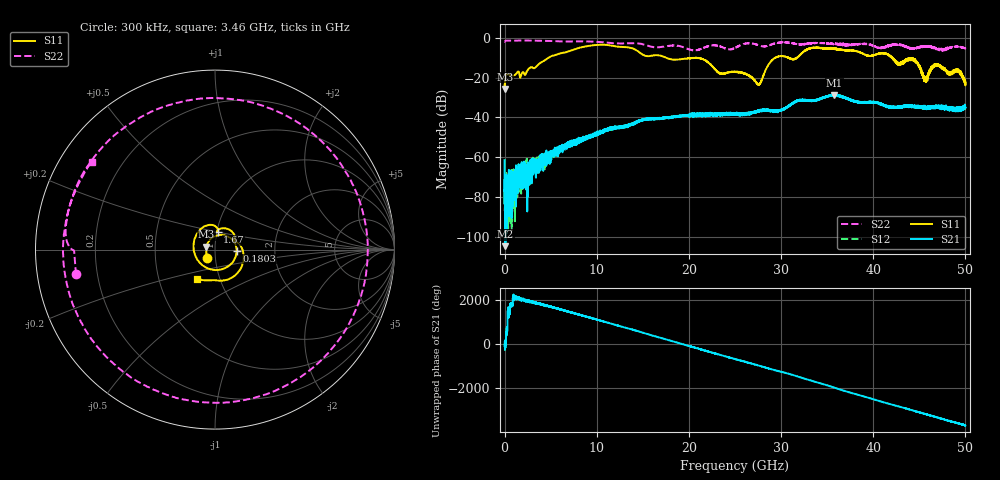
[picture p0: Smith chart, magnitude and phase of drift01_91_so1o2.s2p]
!Created with skrf (http://scikit-rf.org).
# Hz S RI R 50.0
!freq ReS11 ImS11 ReS21 ImS21 ReS12 ImS12 ReS22 ImS22
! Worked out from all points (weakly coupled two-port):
!   10001 points, 300 kHz to 50 GHz, reference 50 ohm
!   highest |S21| = -28.72 dB at 35.8 GHz (marker M1); lowest = -104.8 dB at 85.3 MHz (marker M2)
!   lowest |S11| = -25.8 dB at 5.3 MHz (marker M3), VSWR 1.11, Z = 45.3 + j1.4 ohm
!   |S11| at or under -10 dB: start of sweep to 4.77 GHz; 17.52 GHz to 29.39 GHz (11.88 GHz wide, 50.6 % of centre); 42.08 GHz to end of sweep (the widest 3 of 13)
!   |S22| runs from -6.6 to -1.4 dB; largest |S21 - S12| = 0.0043
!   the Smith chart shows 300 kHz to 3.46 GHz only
!   S11 on the Smith chart (normalised r, x): 300 kHz: 0.91, -0.08; 180.3 MHz: 1.27, -0.01; 1.67 GHz: 1.01, +0.20; 3.46 GHz: 0.77, -0.26
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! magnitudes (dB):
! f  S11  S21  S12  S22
! 300 kHz  -23.6  -61.6  -61.1  -2.1
! 5.3 MHz  -25.8  -83.4  -72.8  -2.1
! 85.3 MHz  -19.4  -104.8  -77.8  -1.5
! 180.3 MHz  -18.4  -75.5  -72.3  -1.4
! 745.3 MHz  -19.0  -72.0  -81.0  -1.5
! 1.67 GHz  -20.0  -66.8  -71.0  -1.4
! 3.46 GHz  -14.3  -67.0  -64.4  -1.5
! 8.335 GHz  -4.8  -50.9  -51.2  -1.8
! 16.67 GHz  -8.8  -40.6  -40.4  -4.8
! 21.22 GHz  -10.3  -38.7  -38.7  -5.7
! 25 GHz  -17.1  -38.3  -38.3  -5.1
! 27.58 GHz  -23.6  -36.7  -36.8  -3.8
! 29.28 GHz  -10.3  -36.9  -36.8  -2.9
! 31.45 GHz  -10.9  -32.4  -32.5  -3.0
! 33.34 GHz  -5.1  -31.6  -31.7  -2.7
! 35.8 GHz  -5.6  -28.7  -29.2  -3.1
! 41.67 GHz  -8.8  -34.8  -34.8  -4.2
! 42.76 GHz  -13.1  -34.9  -35.0  -3.4
! 44.42 GHz  -11.5  -34.7  -34.7  -5.3
! 45.63 GHz  -21.1  -34.5  -35.5  -4.2
! 46.89 GHz  -13.6  -34.3  -34.3  -5.4
! 50 GHz  -22.1  -35.1  -34.8  -5.4
